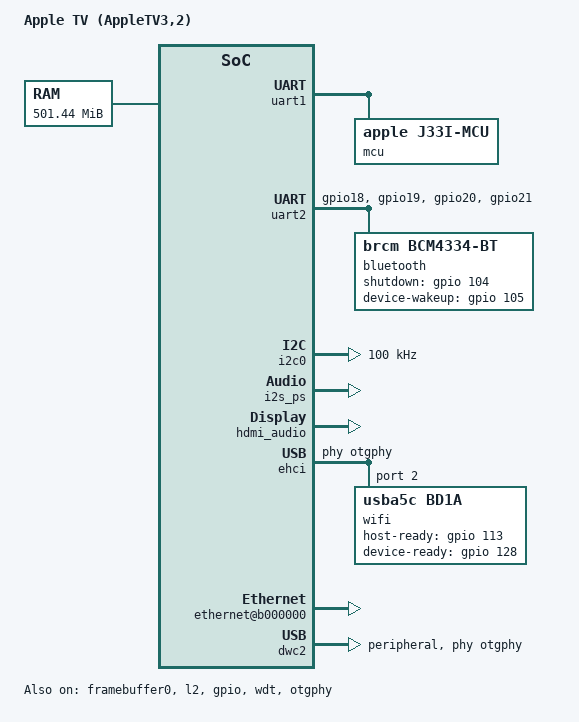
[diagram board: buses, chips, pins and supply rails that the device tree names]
/dts-v1/;

/*
 * Apple TV 3rd generation, Rev A: AppleTV3,2 / J33iAP / S5L8947X (one core).
 *
 * Derived from p105ap.dts: the SoC blocks used here sit at the same
 * addresses on J33i (decrypted 12H847 ADT, and the live IODeviceTree read
 * over ssh from iOS 8.4.4).  What differs:
 *   - one Cortex-A9, no cpu1;
 *   - the scanout is HDMI through rgbout (0x3a200000), not a panel: the
 *     live ADT /vram is 0x9F570000 + 0xA8C000, iOS runs 1080p, iBoot 720p;
 *   - DRAM is 0x80000000 + 0x1F570000 (hw.memsize), /vram right above it;
 *   - the boot console is uart3 (0x32800000).  uart0 talks to the IR/LED
 *     MCU here, so nothing in this file touches it.
 * HDMI audio: sound/soc/apple/s5l-hdmi.c, docs/research/j33i-audio.md.
 */

/ {
	compatible = "apple,j33iap", "apple,s5l8947x", "apple,s5l8940x", "apple,arm";
	model = "Apple TV (AppleTV3,2)";
	#address-cells = <1>;
	#size-cells = <1>;
	interrupt-parent = <&aic>;

	aliases {
		serial0 = &uart3;
		serial1 = &uart1;
	};

	chosen {
		bootargs = "earlycon=s3c6400,0x32800000 keep_bootcon lpj=5000000 root=/dev/ram0 rw rootwait panic=10 loglevel=8 ignore_loglevel g_cdc.host_addr=02:10:5a:05:00:01 g_cdc.dev_addr=02:10:5a:05:00:02";
		linux,initrd-start = <0x88000000>;
		linux,initrd-end   = <0x88000000>;
	};

	memory@80000000 {
		device_type = "memory";
		reg = <0x80000000 0x1f570000>;
	};

	reserved-memory {
		#address-cells = <1>;
		#size-cells = <1>;
		ranges;

		fb_region: framebuffer@9f570000 {
			reg = <0x9f570000 0xa8c000>;
			no-map;
		};

		cpu_reset_page: cpu-reset@80000000 {
			reg = <0x80000000 0x1000>;
			no-map;
		};
	};

	/* iBoot's HDMI scanout.  Base and stride are patched by the staging
	 * loader from rgbout; 1280x720 is what iBoot Recovery shows over HDMI. */
	framebuffer0: framebuffer@9f570000 {
		compatible = "simple-framebuffer";
		reg = <0x9f570000 0xa8c000>;
		width = <1280>;
		height = <720>;
		stride = <5120>;
		format = "a8r8g8b8";
		memory-region = <&fb_region>;
		status = "okay";
	};

	cpus {
		#address-cells = <1>;
		#size-cells = <0>;
		apple,cpu-reset-page = <&cpu_reset_page>;

		cpu0: cpu@a00 {
			device_type = "cpu";
			compatible = "arm,cortex-a9";
			reg = <0xa00>;
		};
	};

	l2: cache-controller@3e000000 {
		compatible = "arm,pl310-cache";
		reg = <0x3e000000 0x1000>, <0x3fd00000 0x2000>;
		cache-unified;
		cache-level = <2>;
		arm,tag-latency = <2 2 1>;
		arm,data-latency = <3 2 1>;
		arm,shared-override;
		arm,full-line-zero-disable;
		arm,dynamic-clock-gating = <1>;
		arm,standby-mode = <0>;
		status = "okay";
	};

	uart_clk: clock-24000000 {
		compatible = "fixed-clock";
		#clock-cells = <0>;
		clock-frequency = <24000000>;
	};

	soc: soc@30000000 {
		compatible = "simple-bus";
		#address-cells = <1>;
		#size-cells = <1>;
		ranges = <0x0 0x30000000 0x10000000>;

		aic: interrupt-controller@f200000 {
			compatible = "aic,1";
			reg = <0xf200000 0x10000>;
			interrupt-controller;
			#interrupt-cells = <1>;
			#address-cells = <0>;
			apple,main-cpus = <2>;
		};

		gpio: gpio@fa00000 {
			compatible = "apple,s5l8940x-gpio";
			reg = <0xfa00000 0x100000>;
			interrupts = <119>;
			gpio-controller;
			#gpio-cells = <2>;
			interrupt-controller;
			#interrupt-cells = <2>;
			#address-cells = <0>;
			pin-count = <224>;
			interrupt-groups = <1>;
			status = "okay";

			/* UART2, the Bluetooth chip's: TX 18, RX 19, RTS 20, CTS 21 (ADT uart2
			 * function-tx 0x0202, function-rts 0x0204: port 2, pins 2 and 4). */
			uart2_pins: uart2-pins {
				pins = "gpio18", "gpio19", "gpio20", "gpio21";
				function = "periph";
			};
		};

		/* UART1: the TI MSP430 that receives the IR remote and drives the front LED (ADT mcu0,
		 * uart-comm "mcu-comm0"). 250000 8N1, CRC-16 framed (docs/research/j33i-mcu-protocol.md).
		 * No pinctrl: the pins stay as iOS left them. uart0 is the MCU's bootloader link and
		 * GPIO 0/1 its reset/test lines: never enable or touch those. */
		uart1: serial@2600000 {
			compatible = "apple,s5l8940x-uart", "apple,s5l-uart", "samsung,s3c6400-uart";
			reg = <0x2600000 0x1000>;
			interrupts = <22>;
			clocks = <&uart_clk>, <&uart_clk>;
			clock-names = "uart", "clk_uart_baud0";
			status = "okay";

			mcu {
				compatible = "apple,j33i-mcu";	/* arch/arm/mach-apple/atv_mcu.c */
			};
		};

		/* UART2: the BCM4334's Bluetooth half (ADT uart2/bluetooth "n88", module Monopoly OS,
		 * patchram cut from BlueTool). iOS runs it at 3 Mbaud; 24 MHz / 16 caps us at 1.5. */
		uart2: serial@2700000 {
			compatible = "apple,s5l8940x-uart", "apple,s5l-uart", "samsung,s3c6400-uart";
			reg = <0x2700000 0x1000>;
			interrupts = <23>;
			clocks = <&uart_clk>, <&uart_clk>;
			clock-names = "uart", "clk_uart_baud0";
			pinctrl-names = "default";
			pinctrl-0 = <&uart2_pins>;
			status = "okay";

			bluetooth {
				compatible = "brcm,bcm4334-bt";
				shutdown-gpios = <&gpio 104 0>;		/* function-power_enable 0x0d00 */
				device-wakeup-gpios = <&gpio 105 0>;	/* function-bt_wake 0x0d01 */
				max-speed = <1500000>;
				local-bd-address = [00 00 00 00 00 00];	/* your board's own address */
			};
		};

		uart3: serial@2800000 {
			compatible = "apple,s5l-uart", "samsung,s3c6400-uart";
			reg = <0x2800000 0x1000>;
			interrupts = <24>;
			clocks = <&uart_clk>, <&uart_clk>;
			clock-names = "uart", "clk_uart_baud0";
			status = "disabled";
		};

		wdt: timer@f103020 {
			compatible = "apple,s5l8940x-wdt-timer";
			reg = <0xf103020 0x10>;
			interrupts = <4>;
			clock-frequency = <24000000>;
			status = "okay";
		};

		/* The PMU's bus (ADT i2c0, irq 18; Dialog D1815 at 0x74 8-bit = 0x3a).  No child
		 * node yet: only i2c-dev reads it, so no driver writes PMU registers. */
		i2c0: i2c@3200000 {
			compatible = "apple,s5l8940x-i2c";
			reg = <0x3200000 0x1000>;
			clock-frequency = <100000>;
			interrupts = <18>;
			clocks = <&uart_clk>;
			clock-names = "i2c";
			#address-cells = <1>;
			#size-cells = <0>;
			status = "okay";
		};

		pmgr: power-management@f100000 {
			compatible = "apple,s5l8940x-pmgr", "syscon";
			reg = <0xf100000 0x7000>;
			status = "disabled";
		};

		/* Audio power states (decoded from the 44-byte device-clocks table): AUDIO
		 * (id 46), I2S (id 47, one gate for every I2S port, child of AUDIO) and
		 * CDMA (id 85).  s5l-hdmi holds all three while bound (one also feeds Ethernet). */
		audio_ps: audio-ps@f10109c {
			compatible = "apple,s5l8940x-pmgr-clk-gate";
			#clock-cells = <0>;
			reg = <0xf10109c 0x4>;
			clocks = <&uart_clk>;
			clock-output-names = "audio_ps";
		};

		i2s_ps: i2s-ps@f1010a0 {
			compatible = "apple,s5l8940x-pmgr-clk-gate";
			#clock-cells = <0>;
			reg = <0xf1010a0 0x4>;
			clocks = <&audio_ps>;
			clock-output-names = "i2s_ps";
		};

		cdma_ps: cdma-ps@f101078 {
			compatible = "apple,s5l8940x-pmgr-clk-gate";
			#clock-cells = <0>;
			reg = <0xf101078 0x4>;
			clocks = <&uart_clk>;
			clock-output-names = "cdma_ps";
		};

		/* HDMI audio: I2S0 sends the samples, slave to the I2S master's clocks
		 * (NCO 0, 342 MHz reference); CDMA channel 0x17 on request 1 (the ADT's
		 * i2s0 dma-channels) feeds it; the HDMI TX's I2S receiver takes them.
		 * The windows: I2S master, I2S0, HDMI CTRL, CORE and I2S receiver, the
		 * PMGR's NCOs, CDMA.  The HDMI TX itself stays iBoot's (the console). */
		hdmi_audio: audio-controller@4190000 {
			compatible = "apple,s5l8947x-hdmi-audio";
			reg = <0x4190000 0x1000>, <0x4195000 0x1000>,
			      <0x9700000 0x1000>, <0x9710000 0x1000>,
			      <0x9740000 0x1000>, <0xf100110 0x70>,
			      <0x7000000 0x2d000>;
			reg-names = "i2s", "i2s-master", "hdmi-ctrl", "hdmi-core",
				    "hdmi-i2s", "nco", "cdma";
			clocks = <&audio_ps>, <&i2s_ps>, <&cdma_ps>;
			clock-names = "audio", "i2s", "cdma";
			apple,dma-channel = <0x17 1>;
			apple,nco-reference-hz = <342000000>;
		};

		otgphy: phy@6000000 {
			compatible = "apple,s5l8940x-otgphy";
			reg = <0x6000000 0x1000>,	/* otgphyctrl */
			      <0xf108000 0x1000>;	/* usb-complex */
			#phy-cells = <1>;
			status = "okay";
		};

		/* EHCI = the host side; the BCM4334 Wi-Fi chip ("monopoly") on HSIC port 2 (ADT
		 * usb0-ehci/wlan port 2; the iPad's is port 3).  No hsic-supply on purpose: REG_ON
		 * is PMU GPIO7 on the D1815, not mapped yet, and a warm handoff from iOS may have
		 * left it high.  PMGR gates match the iPad's offsets (J33i ids 66/67/68 ->
		 * 0x1084/0x1088/0x1090, decoded from the 44-byte device-clocks table). */
		ehci: usb@6400000 {
			compatible = "apple,s5l8940x-ehci", "generic-ehci";
			reg = <0x6400000 0x10000>;
			interrupts = <12>;
			phys = <&otgphy 1>;
			phy-names = "usb";
			apple,hsic-ports = <0x2>;
			#address-cells = <1>;
			#size-cells = <0>;
			status = "okay";

			wifi@2 {
				compatible = "usba5c,bd1a";
				reg = <2>;
				apple,host-ready-gpios = <&gpio 113 0>;
				apple,device-ready-gpios = <&gpio 128 0>;
			};
		};

		/* Arasan FE 10/100 MAC + SMSC LAN8742 PHY at MDIO 0 (ADT ethernet@b000000, irq 27,
		 * clock gate 109 = PMGR +0x1144, which the driver turns on).  No MAC address here: the
		 * real one lives in syscfg; until it is copied in, the driver picks a random one. */
		ethernet@b000000 {
			compatible = "apple,s5l8947x-fe";
			reg = <0xb000000 0x10000>;
			interrupts = <27>;
			status = "okay";
		};

		dwc2: usb@6100000 {
			compatible = "apple,s5l8940x-dwc2", "snps,dwc2";
			reg = <0x6100000 0x10000>;
			interrupts = <11>;
			phys = <&otgphy 0>;
			phy-names = "usb2-phy";
			dr_mode = "peripheral";
			g-rx-fifo-size = <512>;
			g-np-tx-fifo-size = <128>;
			g-tx-fifo-size = <128 128 128 128 128 128 128 128>;
			status = "okay";
		};
	};
};
